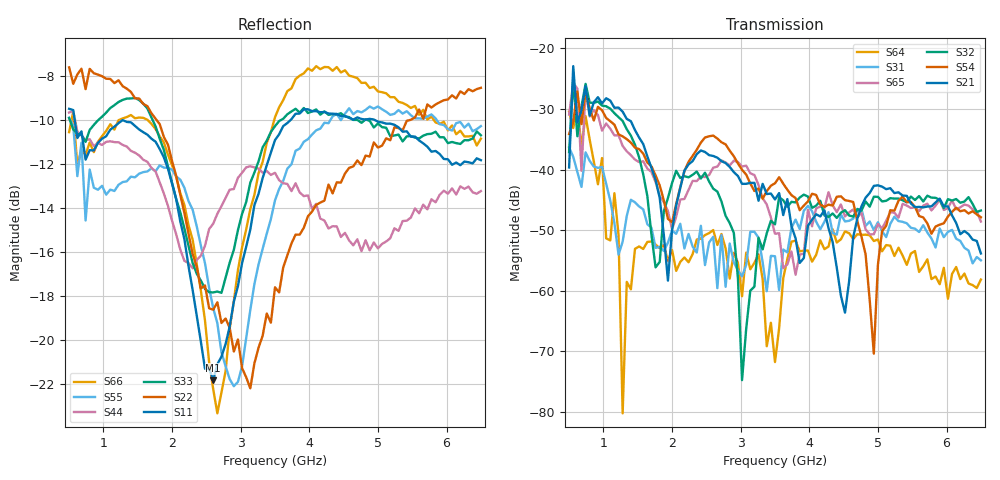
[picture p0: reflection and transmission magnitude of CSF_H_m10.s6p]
!Keysight Technologies,M9804A,MY58100912,A.14.10.03
!Date: Thursday, April 27, 2023 10:28:33
!Correction: S11(C  6-Port  )
!S12(C  6-Port  )
!S13(C  6-Port  )
!S14(C  6-Port  )
!S15(C  6-Port  )
!S16(C  6-Port  )
!S21(C  6-Port  )
!S22(C  6-Port  )
!S23(C  6-Port  )
!S24(C  6-Port  )
!S25(C  6-Port  )
!S26(C  6-Port  )
!S31(C  6-Port  )
!S32(C  6-Port  )
!S33(C  6-Port  )
!S34(C  6-Port  )
!S35(C  6-Port  )
!S36(C  6-Port  )
!S41(C  6-Port  )
!S42(C  6-Port  )
!S43(C  6-Port  )
!S44(C  6-Port  )
!S45(C  6-Port  )
!S46(C  6-Port  )
!S51(C  6-Port  )
!S52(C  6-Port  )
!S53(C  6-Port  )
!S54(C  6-Port  )
!S55(C  6-Port  )
!S56(C  6-Port  )
!S61(C  6-Port  )
!S62(C  6-Port  )
!S63(C  6-Port  )
!S64(C  6-Port  )
!S65(C  6-Port  )
!S66(C  6-Port  )
!S6P File: Measurement: :
# Hz S  RI  R 50
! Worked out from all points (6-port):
!   101 points, 500 MHz to 6.5 GHz, reference 50 ohm
!   strongest paths, dB at 500 MHz, 2 GHz, 3.5 GHz, 5 GHz, 6.5 GHz:
!     S21: -39.7, -50.0, -44.9, -42.6, -53.8
!     S54: -34.1, -48.7, -42.3, -55.7, -47.9
!     S32: -37.1, -42.2, -49.0, -44.5, -46.8
!     S65: -30.9, -49.8, -50.6, -49.0, -48.6
!     S31: -36.3, -50.1, -54.3, -48.7, -55.0
!     S64: -30.4, -53.3, -71.8, -51.5, -58.1
!   lowest |S11| = -21.8 dB at 2.6 GHz (marker M1), VSWR 1.18, Z = 42.7 + j1.91 ohm
!   |S11| at or under -10 dB: 581.8 MHz to 1.276 GHz (694.6 MHz wide, 74.8 % of centre); 1.286 GHz to 3.723 GHz (2.437 GHz wide, 97.3 % of centre); 4.96 GHz to end of sweep
